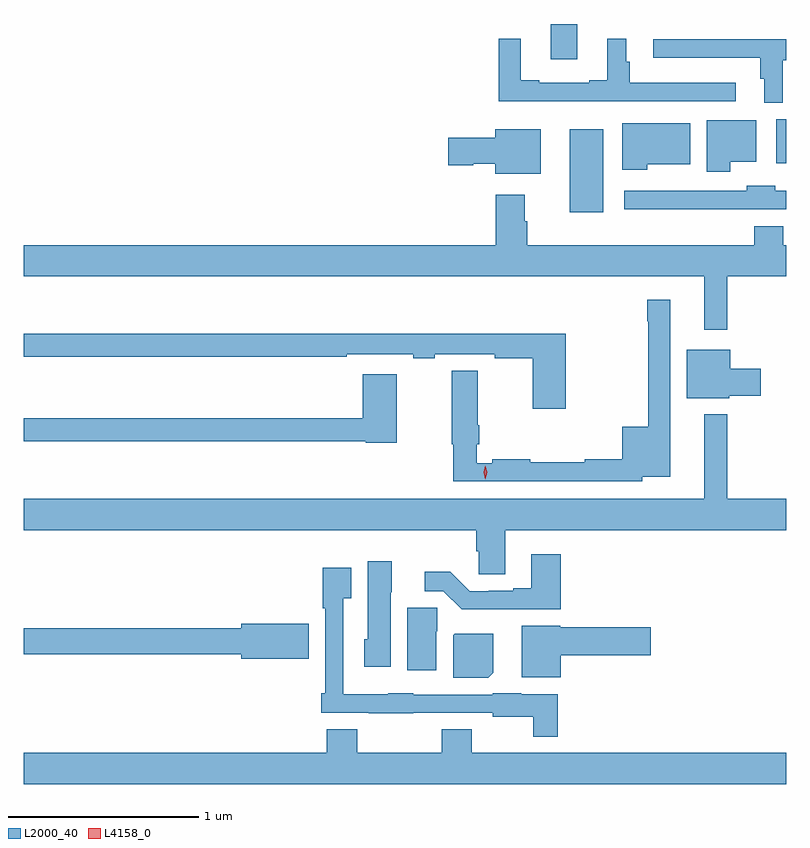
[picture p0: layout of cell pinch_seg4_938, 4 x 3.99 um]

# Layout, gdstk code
import gdstk
lib = gdstk.Library(unit=1e-6, precision=1e-09)
def R(c, l, rs):  # rectangles x0, y0, x1, y1
    for r in rs: c.add(gdstk.rectangle(r[:2], r[2:], *l))
def P(c, l, *ps):  # polygons
    for p in ps: c.add(gdstk.Polygon(p, *l))
L2000_40 = (2000, 40)
L4158_0 = (4158, 0)

pinch_seg4_938 = lib.new_cell('pinch_seg4_938')
R(pinch_seg4_938, L2000_40, [(701.438,761.192,701.614,761.629), (702.521,761.45,702.574,761.68), (701.339,761.994,701.479,762.18)])
P(pinch_seg4_938, L2000_40, [(701.61,761.775),(702.31,761.775),(702.31,761.872),(701.753,761.872),(701.753,761.982),(701.734,761.982),(701.734,762.103),(701.636,762.103),(701.636,761.884),(701.54,761.884),(701.54,761.871),(701.278,761.871),(701.278,761.884),(701.182,761.884),(701.182,762.103),(701.065,762.103),(701.065,761.774),(701.61,761.774)],
  [(702.556,761.991),(702.574,761.991),(702.574,762.099),(701.877,762.099),(701.877,762.002),(702.439,762.002),(702.439,761.892),(702.458,761.892),(702.458,761.766),(702.556,761.766)],
  [(702.28,761.456),(702.418,761.456),(702.418,761.674),(702.158,761.674),(702.158,761.406),(702.28,761.406)],
  [(701.844,761.444),(702.07,761.444),(702.07,761.659),(701.714,761.659),(701.714,761.414),(701.844,761.414)],
  [(701.287,761.629),(701.048,761.629),(701.048,761.582),(700.8,761.582),(700.8,761.44),(700.932,761.44),(700.932,761.447),(701.048,761.447),(701.048,761.393),(701.287,761.393)],
  [(702.574,761.304),(702.516,761.304),(702.516,761.332),(702.366,761.332),(702.366,761.304),(702.062,761.304),(702.062,761.305),(701.724,761.305),(701.724,761.207),(702.574,761.207)],
  [(702.265,760.856),(702.574,760.856),(702.574,761.02),(702.559,761.02),(702.559,761.119),(702.407,761.119),(702.407,761.02),(701.216,761.02),(701.216,761.144),(701.203,761.144),(701.203,761.284),(701.051,761.284),(701.051,761.02),(698.574,761.02),(698.574,760.856),(702.143,760.856),(702.143,760.575),(702.265,760.575)],
  [(701.82,759.803),(701.965,759.803),(701.965,760.732),(701.844,760.732),(701.844,760.619),(701.851,760.619),(701.851,760.066),(701.714,760.066),(701.714,759.896),(701.518,759.896),(701.518,759.881),(701.232,759.881),(701.232,759.896),(701.032,759.896),(701.032,759.876),(700.951,759.876),(700.951,759.975),(700.963,759.975),(700.963,760.075),(700.956,760.075),(700.956,760.36),(700.819,760.36),(700.819,759.975),(700.827,759.975),(700.827,759.78),(701.82,759.78)],
  [(701.418,760.555),(698.574,760.555),(698.574,760.434),(700.268,760.434),(700.268,760.446),(700.618,760.446),(700.618,760.426),(700.73,760.426),(700.73,760.446),(701.044,760.446),(701.044,760.426),(701.245,760.426),(701.245,760.161),(701.418,760.161)],
  [(702.276,760.229),(702.442,760.229),(702.442,760.371),(702.28,760.371),(702.28,760.471),(702.053,760.471),(702.053,760.217),(702.276,760.217)],
  [(700.53,760.342),(700.352,760.342),(700.352,760.111),(698.574,760.111),(698.574,759.99),(700.368,759.99),(700.368,759.982),(700.53,759.982)],
  [(702.143,760.132),(702.143,759.688),(698.574,759.688),(698.574,759.524),(700.949,759.524),(700.949,759.414),(700.962,759.414),(700.962,759.292),(701.101,759.292),(701.101,759.524),(702.574,759.524),(702.574,759.688),(702.265,759.688),(702.265,760.132)],
  [(701.39,759.397),(701.237,759.397),(701.237,759.22),(701.141,759.22),(701.141,759.207),(701.014,759.207),(701.014,759.204),(700.914,759.204),(700.812,759.307),(700.677,759.307),(700.677,759.204),(700.776,759.204),(700.871,759.11),(701.39,759.11)],
  [(700.498,759.198),(700.504,759.198),(700.504,759.361),(700.379,759.361),(700.379,758.952),(700.361,758.952),(700.361,758.808),(700.498,758.808)],
  [(701.375,758.662),(701.184,758.662),(701.184,758.668),(701.034,758.668),(701.034,758.661),(700.617,758.661),(700.617,758.668),(700.485,758.668),(700.485,758.662),(700.251,758.662),(700.251,759.167),(700.291,759.167),(700.291,759.328),(700.143,759.328),(700.143,759.115),(700.155,759.115),(700.155,758.668),(700.135,758.668),(700.135,758.565),(700.385,758.565),(700.385,758.564),(700.617,758.564),(700.617,758.565),(701.034,758.565),(701.034,758.546),(701.247,758.546),(701.247,758.441),(701.375,758.441)],
  [(700.738,758.994),(700.742,758.994),(700.742,759.117),(700.586,759.117),(700.586,758.79),(700.738,758.79)],
  [(700.069,759.032),(699.716,759.032),(699.716,759.008),(698.574,759.008),(698.574,758.872),(699.716,758.872),(699.716,758.849),(700.069,758.849)],
  [(701.392,758.867),(701.863,758.867),(701.863,759.014),(701.388,759.014),(701.388,759.022),(701.186,759.022),(701.186,758.753),(701.392,758.753)],
  [(701.038,758.776),(701.038,758.98),(700.834,758.98),(700.826,758.972),(700.826,758.75),(701.012,758.75)],
  [(702.574,758.356),(700.923,758.356),(700.923,758.48),(700.768,758.48),(700.768,758.356),(700.323,758.356),(700.323,758.48),(700.163,758.48),(700.163,758.356),(698.574,758.356),(698.574,758.192),(702.574,758.192)])
P(pinch_seg4_938, L4158_0, [(700.995,759.791),(700.995,759.791),(700.986,759.827),(700.996,759.863),(700.996,759.863),(700.996,759.863),(701.006,759.827),(700.995,759.791)])

lib.write_gds('pinch_seg4_938.gds')
